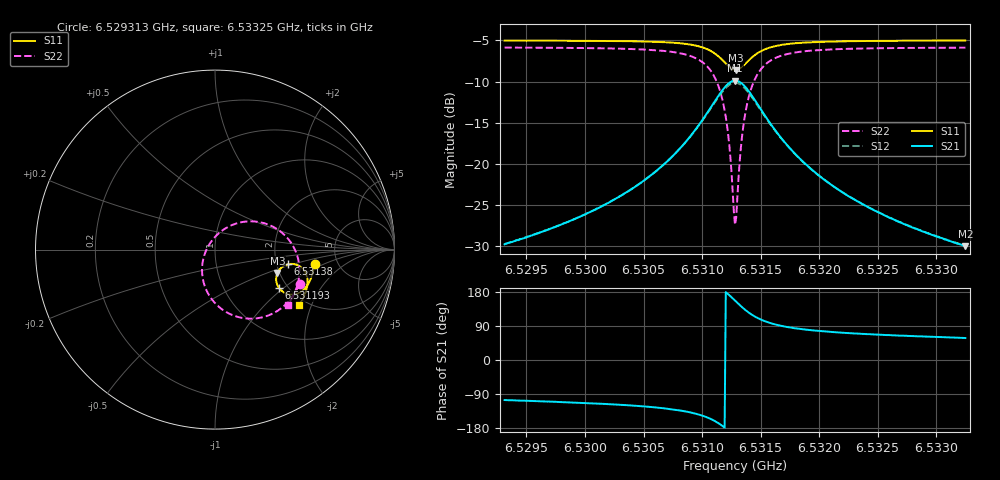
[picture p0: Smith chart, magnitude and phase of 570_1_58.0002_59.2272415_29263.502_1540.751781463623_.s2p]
#  HZ  S  RI  R  50.00
! Rohde & Schwarz Vector Network Analyzer
! Rohde-Schwarz,ZNB20-2Port,1311601062101988,3.16
! Created: UTC 3/21/2024, 1:15:52 AM
! freq[Hz]  re:S11  im:S11  re:S21  im:S21  re:S12  im:S12  re:S22  im:S22
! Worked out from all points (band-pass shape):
!   401 points, 6.529313 GHz to 6.53325 GHz, reference 50 ohm
!   highest |S21| = -9.89 dB at 6.531282 GHz (marker M1); lowest = -30.0 dB at 6.53325 GHz (marker M2)
!   |S21| within 3 dB of the highest: 6.531086 GHz to 6.53148 GHz (393.3 kHz wide, 0.00602 % of centre)
!   lowest |S11| = -8.6 dB at 6.531291 GHz (marker M3), VSWR 2.18, Z = 97.5 - j29.4 ohm
!   |S11| at or under -10 dB: nowhere
!   |S22| runs from -27.4 to -5.9 dB; largest |S21 - S12| = 0.013
!   S11 on the Smith chart (normalised r, x): 6.529313 GHz: 3.35, -0.79; 6.531193 GHz: 1.80, -0.92; 6.53138 GHz: 2.29, -0.46; 6.53325 GHz: 1.82, -1.64
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6.5293132e9  0.5547 -0.0811  -0.00873 -0.0311  -0.00947 -0.0311  0.4718 -0.1909
6.5299726e9  0.5427 -0.1361  -0.0188 -0.0443  -0.0199 -0.0439  0.4383 -0.2519
6.5303466e9  0.5298 -0.1714  -0.0323 -0.0582  -0.0339 -0.0572  0.4033 -0.2958
6.5306321e9  0.5121 -0.2027  -0.0549 -0.0755  -0.057 -0.0738  0.3525 -0.3385
6.5308584e9  0.4837 -0.2318  -0.0967 -0.0944  -0.0995 -0.091  0.2684 -0.3761
6.5310257e9  0.4377 -0.2496  -0.1678 -0.0993  -0.1698 -0.0923  0.1384 -0.3779
6.5311242e9  0.3911 -0.2423  -0.2392 -0.07  -0.2379 -0.06  0.0192 -0.3164
6.5311931e9  0.3556 -0.2125  -0.2912 -0.00788  -0.2845 0.00237  -0.0571 -0.2031
6.5312226e9  0.3449 -0.1909  -0.3045 0.0327  -0.2952 0.0415  -0.0716 -0.1339
6.531262e9  0.3411 -0.1564  -0.304 0.0948  -0.2924 0.1001  -0.0599 -0.0323
6.5312816e9  0.3448 -0.1386  -0.2946 0.1259  -0.2827 0.1291  -0.039 0.0168
6.5312915e9  0.348 -0.13  -0.2875 0.1407  -0.2757 0.1427  -0.025 0.0395
6.5313013e9  0.3521 -0.122  -0.2791 0.1546  -0.2673 0.1557  -0.00881 0.0609
6.5313407e9  0.3755 -0.0961  -0.2348 0.199  -0.225 0.1967  0.071 0.1255
6.5313801e9  0.4042 -0.0824  -0.1831 0.2219  -0.176 0.2182  0.1597 0.1548
6.531449e9  0.4495 -0.0831  -0.1042 0.222  -0.1006 0.2185  0.2915 0.1412
6.5315474e9  0.4886 -0.1068  -0.0371 0.1878  -0.0355 0.1859  0.3993 0.0689
6.531695e9  0.5106 -0.1443  0.00254 0.138  0.00356 0.1373  0.4573 -0.0308
6.5319411e9  0.5154 -0.1885  0.0185 0.0897  0.0195 0.0894  0.4705 -0.1311
6.5322363e9  0.5088 -0.2245  0.0206 0.061  0.0216 0.0608  0.4592 -0.1974
6.5326005e9  0.4965 -0.2585  0.0193 0.0427  0.0201 0.0425  0.4402 -0.2478
6.5332501e9  0.4707 -0.3077  0.0167 0.0267  0.0172 0.0265  0.4055 -0.3066
